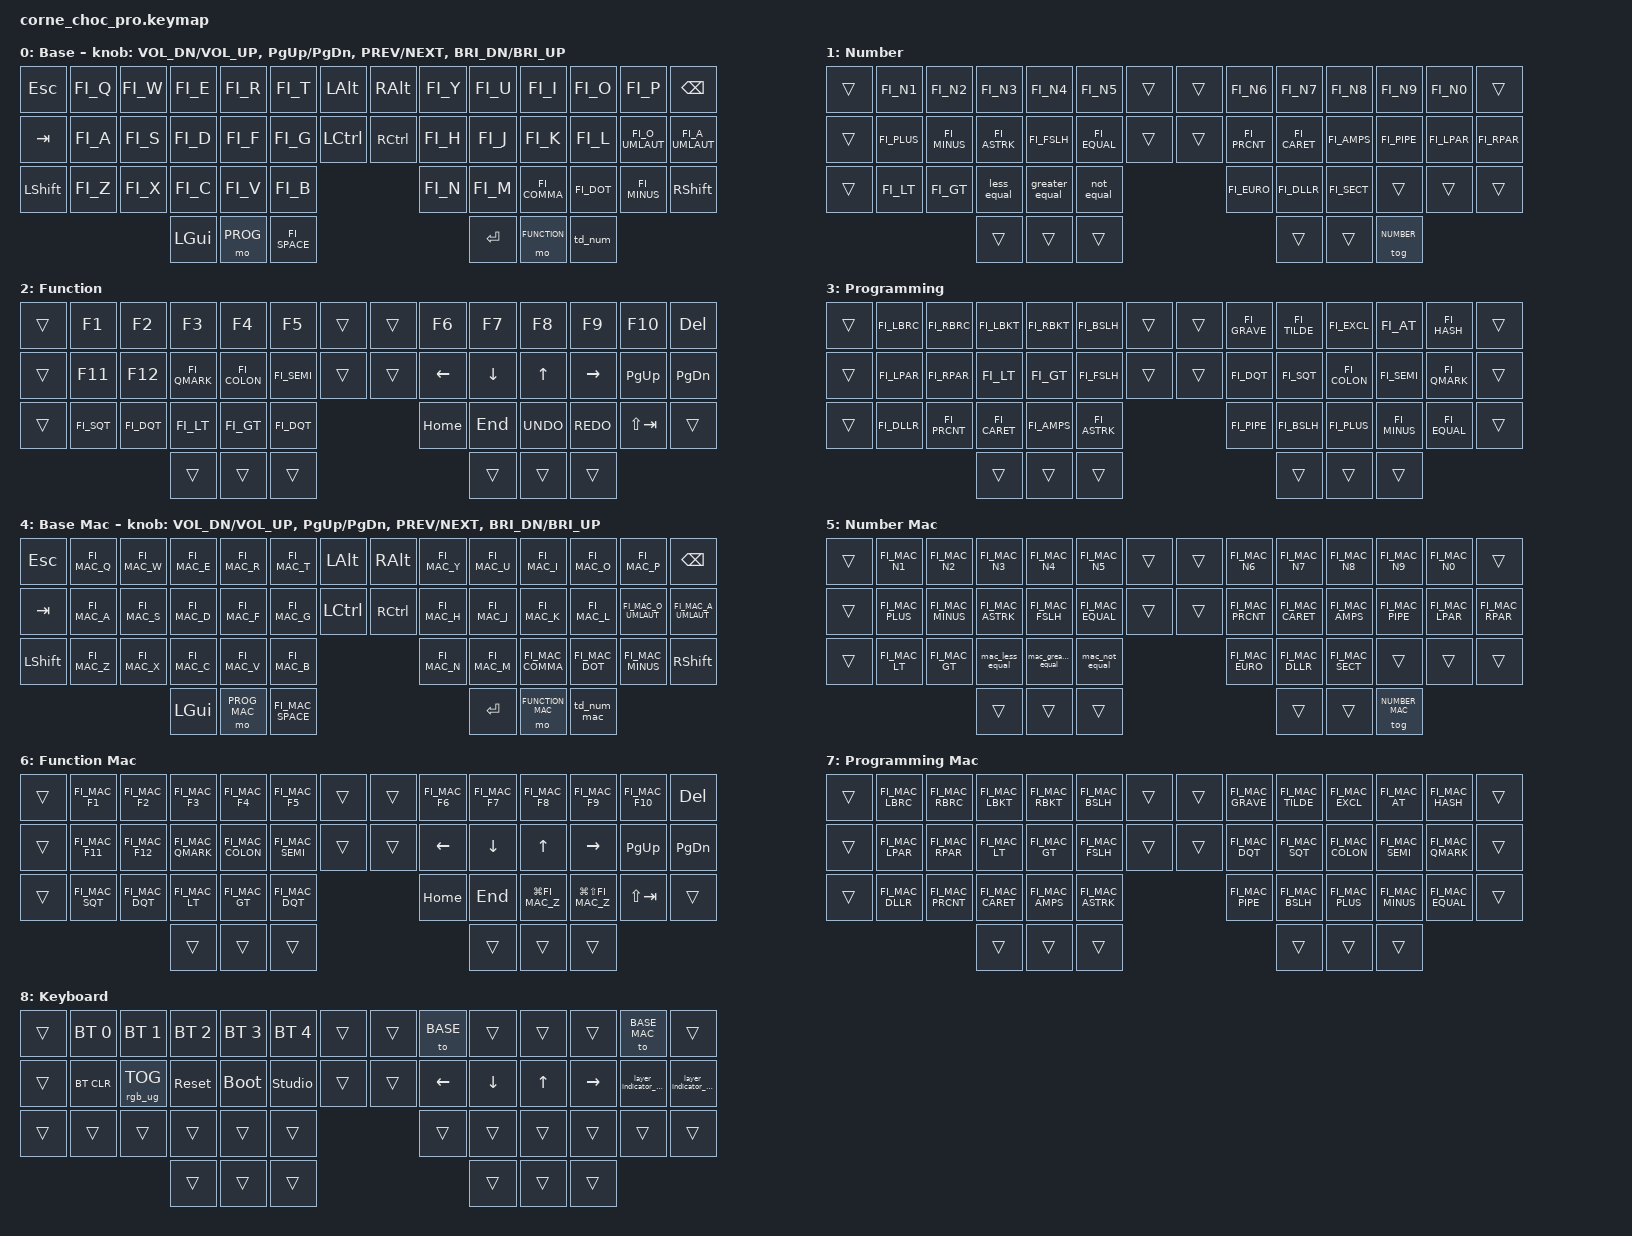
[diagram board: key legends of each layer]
/*
 * Copyright (c) 2020 The ZMK Contributors
 *
 * SPDX-License-Identifier: MIT
 * 
 * Corne Choc Pro keymap for programming in C#/TypeScript/JavaScript
 * with Finnish character support (Ö, Ä)
 * Requires OS keyboard layout set to Finnish
 */

#include <behaviors.dtsi>
#include <dt-bindings/zmk/keys.h>
#include <dt-bindings/zmk/bt.h>
#include <dt-bindings/zmk/rgb.h>
#include <dt-bindings/zmk/outputs.h>
#include "keys_fi.h"
#include "keys_fi_mac.h"

// Layer definitions
#define BASE   0
#define NUMBER 1  
#define FUNCTION 2
#define PROG   3
#define BASE_MAC 4
#define NUMBER_MAC 5
#define FUNCTION_MAC 6
#define PROG_MAC 7
#define KEYBOARD 8

/ {
    chosen {
        zmk,physical-layout = &default_layout;
    };
    
    // Macros for comparison operators (not very practical more of a test)
    macros {
        less_equal: less_equal {
            compatible = "zmk,behavior-macro";
            #binding-cells = <0>;
            bindings = <&kp FI_LT &kp FI_EQUAL>;
        };
        
        greater_equal: greater_equal {
            compatible = "zmk,behavior-macro";
            #binding-cells = <0>;
            bindings = <&kp FI_GT &kp FI_EQUAL>;
        };
        
        not_equal: not_equal {
            compatible = "zmk,behavior-macro";
            #binding-cells = <0>;
            bindings = <&kp FI_EXCL &kp FI_EQUAL>;
        };

        // Mac-specific comparison operators using Mac keys
        mac_less_equal: mac_less_equal {
            compatible = "zmk,behavior-macro";
            #binding-cells = <0>;
            bindings = <&kp FI_MAC_LT &kp FI_MAC_EQUAL>;
        };
        
        mac_greater_equal: mac_greater_equal {
            compatible = "zmk,behavior-macro";
            #binding-cells = <0>;
            bindings = <&kp FI_MAC_GT &kp FI_MAC_EQUAL>;
        };
        
        mac_not_equal: mac_not_equal {
            compatible = "zmk,behavior-macro";
            #binding-cells = <0>;
            bindings = <&kp FI_MAC_EXCL &kp FI_MAC_EQUAL>;
        };

        // Layer indicator macros - output text to show which base layer is active
        layer_indicator_win: layer_indicator_win {
            compatible = "zmk,behavior-macro";
            #binding-cells = <0>;
            bindings = <&to BASE &kp FI_W &kp FI_I &kp FI_N &kp FI_MINUS &kp FI_M &kp FI_O &kp FI_D &kp FI_E &kp FI_SPACE>;
        };
        
        layer_indicator_mac: layer_indicator_mac {
            compatible = "zmk,behavior-macro";
            #binding-cells = <0>;
            bindings = <&to BASE_MAC &kp FI_MAC_M &kp FI_MAC_A &kp FI_MAC_C &kp FI_MAC_MINUS &kp FI_MAC_M &kp FI_MAC_O &kp FI_MAC_D &kp FI_MAC_E &kp FI_MAC_SPACE>;
        };
    };
    
    // Combos for keyboard layer access (safety: requires 3-key combination)
    combos {
        compatible = "zmk,combos";
        combo_keyboard_layer_left {
            timeout-ms = <50>;
            key-positions = <40 41 42>; // Left thumb: GUI + PROG + SPACE
            bindings = <&tog KEYBOARD>;
        };
        combo_keyboard_layer_right {
            timeout-ms = <50>;
            key-positions = <43 44 45>; // Right thumb: ENT + FUNCTION + NUMBER
            bindings = <&tog KEYBOARD>;
        };
    };

    // Tap dance behaviors for number layers
    behaviors {
        td_num: tap_dance_num {
            compatible = "zmk,behavior-tap-dance";
            #binding-cells = <0>;
            tapping-term-ms = <200>;
            bindings = <&mo NUMBER>, <&tog NUMBER>;
        };
        
        td_num_mac: tap_dance_num_mac {
            compatible = "zmk,behavior-tap-dance";
            #binding-cells = <0>;
            tapping-term-ms = <200>;
            bindings = <&mo NUMBER_MAC>, <&tog NUMBER_MAC>;
        };
    };

    keymap {
        compatible = "zmk,keymap";

        base_layer {
            display-name = "Base";
// -----------------------------------------------------------------------------------------
// QWERTY layout with Finnish characters (Ö, Ä) and basic punctuation
// | ESC  |  Q  |  W  |  E  |  R  |  T  |LALT|RALT|  Y  |  U  |   I  |  O  |  P  | BSPC |
// | TAB  |  A  |  S  |  D  |  F  |  G  |LCTRL|RCTRL|  H  |  J  |   K  |  L  |  Ö  |  Ä   |
// | SHFT |  Z  |  X  |  C  |  V  |  B  |     |     |  N  |  M  |   ,  |  .  |  -  | SHFT |
//                   | GUI |PROG | SPC |             | ENT |FUNC|NUMBR|
            bindings = <
   &kp ESC   &kp FI_Q &kp FI_W &kp FI_E &kp FI_R &kp FI_T   &kp LALT   &kp RALT   &kp FI_Y &kp FI_U  &kp FI_I     &kp FI_O   &kp FI_P    &kp BSPC
   &kp TAB   &kp FI_A &kp FI_S &kp FI_D &kp FI_F &kp FI_G   &kp LCTRL  &kp RCTRL  &kp FI_H &kp FI_J  &kp FI_K     &kp FI_L   &kp FI_O_UMLAUT &kp FI_A_UMLAUT
   &kp LSHFT &kp FI_Z &kp FI_X &kp FI_C &kp FI_V &kp FI_B                         &kp FI_N &kp FI_M  &kp FI_COMMA &kp FI_DOT &kp FI_MINUS &kp RSHFT
                               &kp LGUI &mo PROG &kp FI_SPACE                           &kp RET &mo FUNCTION &td_num
            >;

            sensor-bindings = <&inc_dec_kp C_VOL_DN C_VOL_UP &inc_dec_kp PG_UP PG_DN &inc_dec_kp C_PREV C_NEXT &inc_dec_kp C_BRI_DN C_BRI_UP>;
        };

        number_layer {
            display-name = "Number";  
// -----------------------------------------------------------------------------------------
// Numbers with mathematical operators - toggle layer for calculations
// |TRANS |  1  |  2  |  3  |  4  |  5  |TRANS|TRANS|  6  |  7  |  8  |  9  |  0  |TRANS |
// |TRANS |  +  |  -  |  *  |  /  |  =  |TRANS|TRANS|  %  |  ^  |  &  |  |  |  (  |  )   |
// |TRANS |  <  |  >  | <=  | >=  | !=  |     |     |  €  |  $  |  §  |TRANS|TRANS|TRANS |
//                   |TRANS|TRANS|TRANS |             |TRANS|TRANS|NUMBR|
            bindings = <
   &trans &kp FI_N1   &kp FI_N2    &kp FI_N3        &kp FI_N4         &kp FI_N5         &trans &trans        &kp FI_N6    &kp FI_N7    &kp FI_N8   &kp FI_N9   &kp FI_N0    &trans
   &trans &kp FI_PLUS &kp FI_MINUS &kp FI_ASTRK     &kp FI_FSLH       &kp FI_EQUAL      &trans &trans        &kp FI_PRCNT &kp FI_CARET &kp FI_AMPS &kp FI_PIPE &kp FI_LPAR  &kp FI_RPAR
   &trans &kp FI_LT   &kp FI_GT    &less_equal      &greater_equal    &not_equal                               &kp FI_EURO  &kp FI_DLLR  &kp FI_SECT &trans      &trans &trans
                               &trans       &trans         &trans                         &trans  &trans    &tog NUMBER
            >;
        };

        function_layer {
            display-name = "Function";
// -----------------------------------------------------------------------------------------
// Function keys (F1-F12), navigation, and basic punctuation - hold layer
// |TRANS| F1  | F2  | F3  | F4  | F5  |TRANS|TRANS| F6  | F7  | F8  | F9  | F10 | DEL  |
// |TRANS| F11 | F12 |  ?  |  :  |  ;  |TRANS|TRANS|  ←  |  ↓  |  ↑  |  →  |PGUP |PGDN  |
// |TRANS| '   | "   |  <  |  >  |  "  |     |     |HOME | END |UNDO |REDO |STAB |TRANS |
//                   |TRANS|TRANS|TRANS|             |TRANS|TRANS|TRANS|
            bindings = <
   &trans &kp F1       &kp F2      &kp F3    &kp F4    &kp F5     &trans &trans  &kp F6   &kp F7   &kp F8     &kp F9      &kp F10         &kp DEL
   &trans &kp F11      &kp F12     &kp FI_QMARK &kp FI_COLON &kp FI_SEMI &trans  &trans &kp LEFT &kp DOWN &kp UP     &kp RIGHT   &kp PG_UP       &kp PG_DN
   &trans &kp FI_SQT   &kp FI_DQT  &kp FI_LT &kp FI_GT &kp FI_DQT                       &kp HOME &kp END  &kp K_UNDO &kp K_REDO  &kp LS(TAB)     &trans
                              &trans    &trans  &trans                  &trans &trans  &trans
            >;
        };

        programming_layer {
            display-name = "Programming";
// -----------------------------------------------------------------------------------------  
// All programming symbols - brackets, quotes, operators - hold layer
// |TRANS|  {  |  }  |  [  |  ]  |  \  |TRANS|TRANS|  `  |  ~  |  !  |  @  |  #  |TRANS |
// |TRANS|  (  |  )  |  <  |  >  |  /  |TRANS|TRANS|  "  |  '  |  :  |  ;  |  ?  |TRANS |
// |TRANS|  $  |  %  |  ^  |  &  |  *  |     |     |  |  |  \  |  +  |  -  |  =  |TRANS |
//                   |TRANS|PROG |TRANS|             |TRANS|TRANS|TRANS|
            bindings = <
   &trans &kp FI_LBRC &kp FI_RBRC &kp FI_LBKT &kp FI_RBKT &kp FI_BSLH &trans &trans &kp FI_GRAVE &kp FI_TILDE &kp FI_EXCL  &kp FI_AT      &kp FI_HASH   &trans
   &trans &kp FI_LPAR &kp FI_RPAR &kp FI_LT   &kp FI_GT   &kp FI_FSLH &trans &trans &kp FI_DQT   &kp FI_SQT   &kp FI_COLON &kp FI_SEMI    &kp FI_QMARK  &trans
   &trans &kp FI_DLLR &kp FI_PRCNT &kp FI_CARET &kp FI_AMPS &kp FI_ASTRK                     &kp FI_PIPE  &kp FI_BSLH  &kp FI_PLUS  &kp FI_MINUS   &kp FI_EQUAL  &trans
                              &trans   &trans   &trans                   &trans  &trans    &trans
            >;
        };



        base_mac_layer {
            display-name = "Base Mac";
// -----------------------------------------------------------------------------------------
// QWERTY layout optimized for Mac Finnish keyboard layout
// | ESC  |  Q  |  W  |  E  |  R  |  T  |LALT|RALT|  Y  |  U  |   I  |  O  |  P  | BSPC |
// | TAB  |  A  |  S  |  D  |  F  |  G  |LCTRL|RCTRL|  H  |  J  |   K  |  L  |  Ö  |  Ä   |
// | SHFT |  Z  |  X  |  C  |  V  |  B  |     |     |  N  |  M  |   ,  |  .  |  -  | SHFT |
//                   | GUI |PROG | SPC |             | ENT |FUNC|NUMBR|
            bindings = <
   &kp ESC   &kp FI_MAC_Q &kp FI_MAC_W &kp FI_MAC_E &kp FI_MAC_R &kp FI_MAC_T   &kp LALT   &kp RALT   &kp FI_MAC_Y &kp FI_MAC_U  &kp FI_MAC_I     &kp FI_MAC_O   &kp FI_MAC_P    &kp BSPC
   &kp TAB   &kp FI_MAC_A &kp FI_MAC_S &kp FI_MAC_D &kp FI_MAC_F &kp FI_MAC_G   &kp LCTRL  &kp RCTRL  &kp FI_MAC_H &kp FI_MAC_J  &kp FI_MAC_K     &kp FI_MAC_L   &kp FI_MAC_O_UMLAUT &kp FI_MAC_A_UMLAUT
   &kp LSHFT &kp FI_MAC_Z &kp FI_MAC_X &kp FI_MAC_C &kp FI_MAC_V &kp FI_MAC_B                         &kp FI_MAC_N &kp FI_MAC_M  &kp FI_MAC_COMMA &kp FI_MAC_DOT &kp FI_MAC_MINUS &kp RSHFT
                               &kp LGUI &mo PROG_MAC &kp FI_MAC_SPACE                           &kp RET &mo FUNCTION_MAC &td_num_mac
            >;

            sensor-bindings = <&inc_dec_kp C_VOL_DN C_VOL_UP &inc_dec_kp PG_UP PG_DN &inc_dec_kp C_PREV C_NEXT &inc_dec_kp C_BRI_DN C_BRI_UP>;
        };

        number_mac_layer {
            display-name = "Number Mac";  
// -----------------------------------------------------------------------------------------
// Numbers with mathematical operators optimized for Mac - toggle layer for calculations
// |TRANS |  1  |  2  |  3  |  4  |  5  |TRANS|TRANS|  6  |  7  |  8  |  9  |  0  |TRANS |
// |TRANS |  +  |  -  |  *  |  /  |  =  |TRANS|TRANS|  %  |  ^  |  &  |  |  |  (  |  )   |
// |TRANS |  <  |  >  | <=  | >=  | !=  |     |     |  €  |  $  |  §  |TRANS|TRANS|TRANS |
//                   |TRANS|TRANS|TRANS |             |TRANS|TRANS|NUMBR|
            bindings = <
   &trans &kp FI_MAC_N1   &kp FI_MAC_N2    &kp FI_MAC_N3        &kp FI_MAC_N4         &kp FI_MAC_N5         &trans &trans        &kp FI_MAC_N6    &kp FI_MAC_N7    &kp FI_MAC_N8   &kp FI_MAC_N9   &kp FI_MAC_N0    &trans
   &trans &kp FI_MAC_PLUS &kp FI_MAC_MINUS &kp FI_MAC_ASTRK     &kp FI_MAC_FSLH       &kp FI_MAC_EQUAL      &trans &trans        &kp FI_MAC_PRCNT &kp FI_MAC_CARET &kp FI_MAC_AMPS &kp FI_MAC_PIPE    &kp FI_MAC_LPAR  &kp FI_MAC_RPAR
   &trans &kp FI_MAC_LT   &kp FI_MAC_GT    &mac_less_equal      &mac_greater_equal    &mac_not_equal                               &kp FI_MAC_EURO  &kp FI_MAC_DLLR  &kp FI_MAC_SECT &trans      &trans &trans
                               &trans       &trans         &trans                         &trans  &trans    &tog NUMBER_MAC
            >;
        };

        function_mac_layer {
            display-name = "Function Mac";
// -----------------------------------------------------------------------------------------
// Function keys (F1-F12), navigation, and basic punctuation - hold layer for Mac
// |TRANS| F1  | F2  | F3  | F4  | F5  |TRANS|TRANS| F6  | F7  | F8  | F9  | F10 | DEL  |
// |TRANS| F11 | F12 |  ?  |  :  |  ;  |TRANS|TRANS|  ←  |  ↓  |  ↑  |  →  |PGUP |PGDN  |
// |TRANS| '   | "   |  <  |  >  |  "  |     |     |HOME | END |UNDO |REDO |STAB |TRANS |
//                   |TRANS|TRANS|TRANS|             |TRANS|TRANS|TRANS|
            bindings = <
   &trans &kp FI_MAC_F1       &kp FI_MAC_F2      &kp FI_MAC_F3    &kp FI_MAC_F4    &kp FI_MAC_F5     &trans &trans  &kp FI_MAC_F6   &kp FI_MAC_F7   &kp FI_MAC_F8     &kp FI_MAC_F9      &kp FI_MAC_F10         &kp DEL
   &trans &kp FI_MAC_F11      &kp FI_MAC_F12     &kp FI_MAC_QMARK &kp FI_MAC_COLON &kp FI_MAC_SEMI &trans  &trans &kp LEFT &kp DOWN &kp UP     &kp RIGHT   &kp PG_UP       &kp PG_DN
   &trans &kp FI_MAC_SQT   &kp FI_MAC_DQT  &kp FI_MAC_LT &kp FI_MAC_GT &kp FI_MAC_DQT                       &kp HOME &kp END  &kp LG(FI_MAC_Z) &kp LG(LS(FI_MAC_Z))  &kp LS(TAB)     &trans
                              &trans    &trans  &trans                  &trans &trans  &trans
            >;
        };

        programming_mac_layer {
            display-name = "Programming Mac";
// -----------------------------------------------------------------------------------------  
// All programming symbols optimized for Mac Finnish layout - hold layer
// |TRANS|  {  |  }  |  [  |  ]  |  \  |TRANS|TRANS|  `  |  ~  |  !  |  @  |  #  |TRANS |
// |TRANS|  (  |  )  |  <  |  >  |  /  |TRANS|TRANS|  "  |  '  |  :  |  ;  |  ?  |TRANS |
// |TRANS|  $  |  %  |  ^  |  &  |  *  |     |     |  |  |  \  |  +  |  -  |  =  |TRANS |
//                   |TRANS|PROG |TRANS|             |TRANS|TRANS|TRANS|
            bindings = <
   &trans &kp FI_MAC_LBRC    &kp FI_MAC_RBRC    &kp FI_MAC_LBKT    &kp FI_MAC_RBKT    &kp FI_MAC_BSLH    &trans &trans &kp FI_MAC_GRAVE &kp FI_MAC_TILDE   &kp FI_MAC_EXCL  &kp FI_MAC_AT        &kp FI_MAC_HASH     &trans
   &trans &kp FI_MAC_LPAR  &kp FI_MAC_RPAR  &kp FI_MAC_LT    &kp FI_MAC_GT    &kp FI_MAC_FSLH  &trans &trans &kp FI_MAC_DQT   &kp FI_MAC_SQT   &kp FI_MAC_COLON &kp FI_MAC_SEMI    &kp FI_MAC_QMARK  &trans
   &trans &kp FI_MAC_DLLR  &kp FI_MAC_PRCNT &kp FI_MAC_CARET &kp FI_MAC_AMPS  &kp FI_MAC_ASTRK                     &kp FI_MAC_PIPE    &kp FI_MAC_BSLH    &kp FI_MAC_PLUS  &kp FI_MAC_MINUS   &kp FI_MAC_EQUAL  &trans
                              &trans   &trans   &trans                   &trans  &trans    &trans
            >;
        };
        keyboard_layer {
            display-name = "Keyboard";
// -----------------------------------------------------------------------------------------
// System management - Bluetooth, RGB, reset functions - 3-key combo access
// |TRANS | BT1 | BT2 | BT3 | BT4 | BT5 |TRANS|TRANS|WIN/L|     |     |     | MAC |TRANS |
// |TRANS |BTCLR|RGBTG| RST |BOOT |UNLCK|TRANS|TRANS| ←   | ↓   | ↑   | →   |WTEST|MTEST |
// |TRANS |     |     |     |     |     |     |     |     |     |     |     |     |TRANS |
//                   |TRANS|TRANS|TRANS|             |TRANS|TRANS|TRANS|
// WTEST: Switch to WIN/Linux base layer and type "win-mode "
// MTEST: Switch to Mac base layer and type "mac-mode "
            bindings = <
   &trans &bt BT_SEL 0 &bt BT_SEL 1 &bt BT_SEL 2 &bt BT_SEL 3 &bt BT_SEL 4 &trans &trans &to BASE     &trans   &trans &trans    &to BASE_MAC &trans
   &trans &bt BT_CLR   &rgb_ug RGB_TOG &sys_reset &bootloader &studio_unlock &trans &trans &kp LEFT &kp DOWN &kp UP &kp RIGHT &layer_indicator_win &layer_indicator_mac
   &trans &trans       &trans          &trans     &trans      &trans                            &trans   &trans   &trans &trans    &trans &trans
                                        &trans     &trans      &trans                           &trans &trans   &trans
            >;
        };
    };
};
